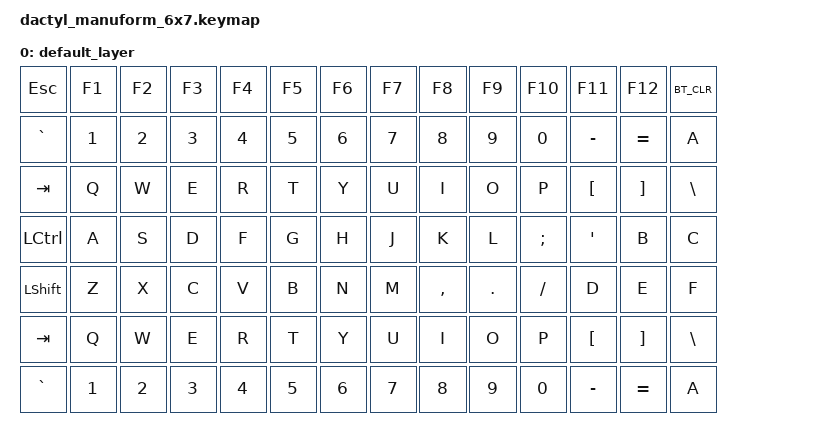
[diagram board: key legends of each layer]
/*
 * Copyright (c) 2020 The ZMK Contributors
 *
 * SPDX-License-Identifier: MIT
 */

#include <behaviors.dtsi>
#include <dt-bindings/zmk/keys.h>
#include <dt-bindings/zmk/bt.h>
#include <dt-bindings/zmk/outputs.h>
#include <dt-bindings/zmk/ext_power.h>
#include <dt-bindings/zmk/rgb.h>

#define DEFAULT 0

/ {
	keymap {
		compatible = "zmk,keymap";

		default_layer {
			bindings = <
			&kp ESC    &kp F1       &kp F2    &kp F3    &kp F4    &kp F5    &kp F6    &kp F7     &kp F8      &kp F9    &kp F10    &kp F11    &kp F12     &kp BT_CLR 
			&kp GRAVE  &kp N1       &kp N2    &kp N3    &kp N4    &kp N5    &kp N6    &kp N7     &kp N8      &kp N9    &kp N0     &kp MINUS  &kp EQUAL   &kp A   
			&kp TAB    &kp Q        &kp W     &kp E     &kp R     &kp T     &kp Y     &kp U      &kp I       &kp O     &kp P      &kp LBKT   &kp RBKT    &kp BSLH
			&kp LCTRL  &kp A        &kp S     &kp D     &kp F     &kp G     &kp H     &kp J      &kp K       &kp L     &kp SEMI   &kp APOS   &kp B       &kp C
            &kp LSHFT  &kp Z        &kp X     &kp C     &kp V     &kp B     &kp N     &kp M      &kp COMMA   &kp DOT   &kp SLASH  &kp D      &kp E       &kp F
			&kp TAB    &kp Q        &kp W     &kp E     &kp R     &kp T     &kp Y     &kp U      &kp I       &kp O     &kp P      &kp LBKT   &kp RBKT    &kp BSLH
			&kp GRAVE  &kp N1       &kp N2    &kp N3    &kp N4    &kp N5    &kp N6    &kp N7     &kp N8      &kp N9    &kp N0     &kp MINUS  &kp EQUAL   &kp A   
			>;
		};
	};
};
